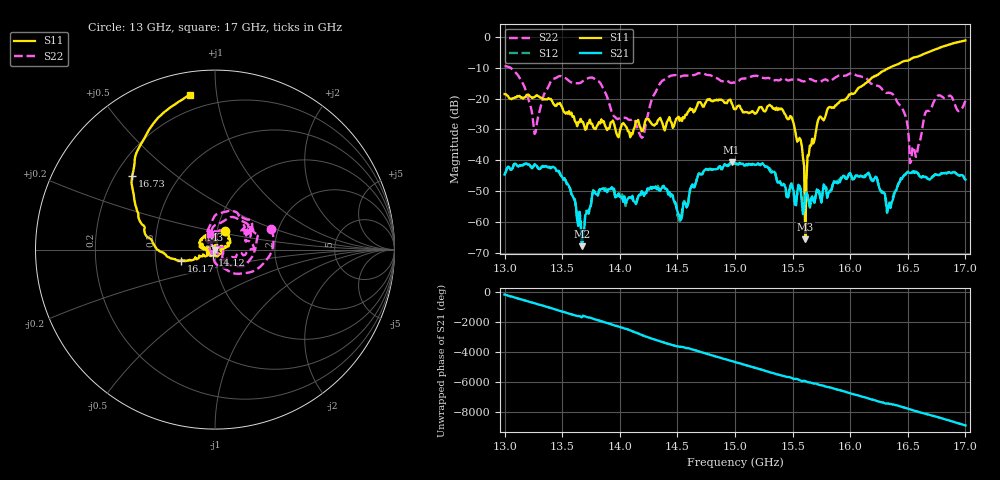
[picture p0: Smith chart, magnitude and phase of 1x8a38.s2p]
!Keysight Technologies,P9374A,MY57211807,A.19.30.04
!Date: Friday, May 08, 2026 14:13:41
!Correction: S11(C  2-Port  )
!S21(C  2-Port  )
!S12(C  2-Port  )
!S22(C  2-Port  )
!S2P File: Measurements: S11, S21, S12, S22:
# Hz S  dB  R 50
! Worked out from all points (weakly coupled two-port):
!   401 points, 13 GHz to 17 GHz, reference 50 ohm
!   highest |S21| = -40.54 dB at 14.97 GHz (marker M1); lowest = -67.8 dB at 13.67 GHz (marker M2)
!   lowest |S11| = -65.6 dB at 15.61 GHz (marker M3), VSWR 1.00, Z = 50 + j0.0319 ohm
!   |S11| at or under -10 dB: start of sweep to 16.34 GHz
!   |S22| runs from -40.9 to -9.5 dB; largest |S21 - S12| = 0.00077
!   S11 on the Smith chart (normalised r, x): 13 GHz: 1.10, +0.23; 14.12 GHz: 0.97, -0.06; 16.17 GHz: 0.68, -0.09; 16.73 GHz: 0.27, +0.36; 17 GHz: 0.12, +0.84
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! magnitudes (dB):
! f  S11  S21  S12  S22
! 13 GHz  -18.6  -44.6  -44.6  -9.6
! 13.15 GHz  -19.6  -41.6  -41.6  -14.5
! 13.27 GHz  -19.2  -41.6  -41.7  -30.8
! 13.42 GHz  -21.5  -42.1  -42.1  -13.7
! 13.67 GHz  -27.5  -67.8  -65.9  -14.6
! 13.84 GHz  -26.8  -49.4  -49.0  -15.6
! 14.12 GHz  -30.0  -53.2  -53.9  -26.5
! 14.2 GHz  -30.3  -50.4  -50.6  -32.5
! 14.34 GHz  -26.7  -49.7  -49.3  -15.7
! 14.52 GHz  -27.2  -58.1  -59.7  -12.9
! 14.69 GHz  -21.2  -44.4  -44.1  -11.8
! 14.97 GHz  -21.4  -40.5  -40.7  -15.0
! 15 GHz  -23.5  -41.0  -41.1  -14.8
! 15.49 GHz  -26.0  -47.7  -47.4  -13.9
! 15.61 GHz  -65.6  -51.4  -52.3  -14.3
! 15.67 GHz  -33.0  -51.7  -52.2  -14.0
! 16.17 GHz  -14.0  -44.9  -45.1  -14.8
! 16.34 GHz  -10.1  -54.1  -53.7  -18.1
! 16.47 GHz  -7.8  -44.8  -44.8  -24.6
! 16.54 GHz  -6.9  -43.7  -44.1  -36.0
! 16.73 GHz  -4.2  -44.7  -44.9  -20.7
! 17 GHz  -1.2  -46.3  -46.3  -20.7
